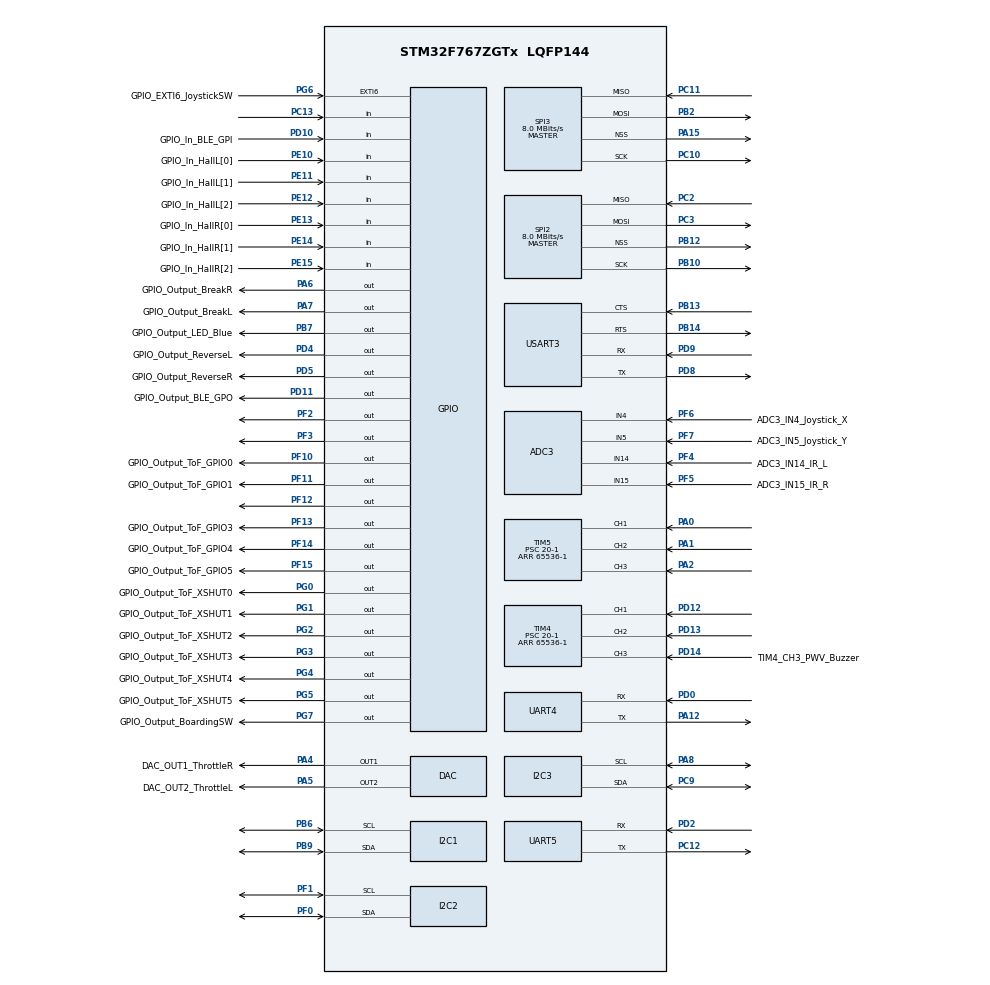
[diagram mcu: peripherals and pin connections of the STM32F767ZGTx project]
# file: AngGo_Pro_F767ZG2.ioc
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ADC3.Channel-0\#ChannelRegularConversion=ADC_CHANNEL_14
ADC3.Channel-2\#ChannelRegularConversion=ADC_CHANNEL_15
ADC3.Channel-5\#ChannelRegularConversion=ADC_CHANNEL_4
ADC3.Channel-6\#ChannelRegularConversion=ADC_CHANNEL_5
ADC3.ClockPrescaler=ADC_CLOCK_SYNC_PCLK_DIV2
ADC3.ContinuousConvMode=ENABLE
ADC3.DMAContinuousRequests=ENABLE
ADC3.DiscontinuousConvMode=DISABLE
ADC3.InjNumberOfConversion=0
ADC3.NbrOfConversion=4
ADC3.NbrOfConversionFlag=1
ADC3.Rank-0\#ChannelRegularConversion=1
ADC3.Rank-2\#ChannelRegularConversion=2
ADC3.Rank-5\#ChannelRegularConversion=3
ADC3.Rank-6\#ChannelRegularConversion=4
ADC3.SamplingTime-0\#ChannelRegularConversion=ADC_SAMPLETIME_144CYCLES
ADC3.SamplingTime-2\#ChannelRegularConversion=ADC_SAMPLETIME_144CYCLES
ADC3.SamplingTime-5\#ChannelRegularConversion=ADC_SAMPLETIME_144CYCLES
ADC3.SamplingTime-6\#ChannelRegularConversion=ADC_SAMPLETIME_144CYCLES
ADC3.ScanConvMode=ADC_SCAN_ENABLE
DAC.DAC_OutputBuffer=DAC_OUTPUTBUFFER_ENABLE
DAC.DAC_OutputBuffer2=DAC_OUTPUTBUFFER_ENABLE
Dma.ADC3.0.Direction=DMA_PERIPH_TO_MEMORY
Dma.ADC3.0.FIFOMode=DMA_FIFOMODE_DISABLE
Dma.ADC3.0.Instance=DMA2_Stream1
Dma.ADC3.0.MemDataAlignment=DMA_MDATAALIGN_HALFWORD
Dma.ADC3.0.MemInc=DMA_MINC_ENABLE
Dma.ADC3.0.Mode=DMA_CIRCULAR
Dma.ADC3.0.PeriphDataAlignment=DMA_PDATAALIGN_HALFWORD
Dma.ADC3.0.PeriphInc=DMA_PINC_DISABLE
Dma.ADC3.0.Priority=DMA_PRIORITY_HIGH
Dma.Request0=ADC3
Mcu.Family=STM32F7
Mcu.Name=STM32F767ZGTx
Mcu.Package=LQFP144
NVIC.DMA2_Stream1_IRQn=true\:0\:0\:false\:false\:true\:false\:true\:true
NVIC.EXTI9_5_IRQn=true\:0\:0\:false\:false\:true\:true\:true\:true
NVIC.PriorityGroup=NVIC_PRIORITYGROUP_4
NVIC.TIM1_UP_TIM10_IRQn=true\:0\:0\:false\:false\:true\:true\:true\:true
PA0/WKUP.GPIO_PuPd=GPIO_PULLUP
PA0/WKUP.Signal=S_TIM5_CH1
PA1.GPIO_PuPd=GPIO_PULLUP
PA1.Signal=S_TIM5_CH2
PA12.Mode=Asynchronous
PA12.Signal=UART4_TX
PA15.Mode=NSS_Signal_Hard_Output
PA15.Signal=SPI3_NSS
PA2.GPIO_PuPd=GPIO_PULLUP
PA2.Signal=S_TIM5_CH3
PA4.GPIO_Label=DAC_OUT1_ThrottleR
PA4.Signal=COMP_DAC1_group
PA5.GPIO_Label=DAC_OUT2_ThrottleL
PA5.Signal=COMP_DAC2_group
PA6.GPIO_Label=GPIO_Output_BreakR
PA6.PinState=GPIO_PIN_RESET
PA6.Signal=GPIO_Output
PA7.GPIO_Label=GPIO_Output_BreakL
PA7.Signal=GPIO_Output
PA8.Mode=I2C
PA8.Signal=I2C3_SCL
PB10.Mode=Full_Duplex_Master
PB10.Signal=SPI2_SCK
PB12.Mode=NSS_Signal_Hard_Output
PB12.Signal=SPI2_NSS
PB13.Mode=CTS_RTS
PB13.Signal=USART3_CTS
PB14.Mode=CTS_RTS
PB14.Signal=USART3_RTS
PB2.Mode=Full_Duplex_Master
PB2.Signal=SPI3_MOSI
PB6.Mode=I2C
PB6.Signal=I2C1_SCL
PB7.GPIO_Label=GPIO_Output_LED_Blue
PB7.Signal=GPIO_Output
PB9.Mode=I2C
PB9.Signal=I2C1_SDA
PC10.Mode=Full_Duplex_Master
PC10.Signal=SPI3_SCK
PC11.Mode=Full_Duplex_Master
PC11.Signal=SPI3_MISO
PC12.Mode=Asynchronous
PC12.Signal=UART5_TX
PC13.Signal=GPIO_Input
PC2.Mode=Full_Duplex_Master
PC2.Signal=SPI2_MISO
PC3.Mode=Full_Duplex_Master
PC3.Signal=SPI2_MOSI
PC9.Mode=I2C
PC9.Signal=I2C3_SDA
PD0.Mode=Asynchronous
PD0.Signal=UART4_RX
PD10.GPIO_Label=GPIO_In_BLE_GPI
PD10.Signal=GPIO_Input
PD11.GPIO_Label=GPIO_Output_BLE_GPO
PD11.Signal=GPIO_Output
PD12.GPIO_PuPd=GPIO_PULLUP
PD12.Signal=S_TIM4_CH1
PD13.GPIO_PuPd=GPIO_PULLUP
PD13.Signal=S_TIM4_CH2
PD14.GPIO_Label=TIM4_CH3_PWV_Buzzer
PD14.GPIO_PuPd=GPIO_PULLUP
PD14.Signal=S_TIM4_CH3
PD15.GPIO_Label=TIM4_CH4_PWM_LED_PLS
PD15.Signal=S_TIM4_CH4
PD2.Mode=Asynchronous
PD2.Signal=UART5_RX
PD4.GPIO_Label=GPIO_Output_ReverseL
PD4.PinState=GPIO_PIN_RESET
PD4.Signal=GPIO_Output
PD5.GPIO_Label=GPIO_Output_ReverseR
PD5.PinState=GPIO_PIN_RESET
PD5.Signal=GPIO_Output
PD8.Mode=Asynchronous
PD8.Signal=USART3_TX
PD9.Mode=Asynchronous
PD9.Signal=USART3_RX
PE10.GPIO_Label=GPIO_In_HallL[0]
PE10.Signal=GPIO_Input
PE11.GPIO_Label=GPIO_In_HallL[1]
PE11.Signal=GPIO_Input
PE12.GPIO_Label=GPIO_In_HallL[2]
PE12.Signal=GPIO_Input
PE13.GPIO_Label=GPIO_In_HallR[0]
PE13.Signal=GPIO_Input
PE14.GPIO_Label=GPIO_In_HallR[1]
PE14.Signal=GPIO_Input
PE15.GPIO_Label=GPIO_In_HallR[2]
PE15.Signal=GPIO_Input
PF0.Mode=I2C
PF0.Signal=I2C2_SDA
PF1.Mode=I2C
PF1.Signal=I2C2_SCL
PF10.GPIO_Label=GPIO_Output_ToF_GPIO0
PF10.Signal=GPIO_Output
PF11.GPIO_Label=GPIO_Output_ToF_GPIO1
PF11.Signal=GPIO_Output
PF12.Signal=GPIO_Output
PF13.GPIO_Label=GPIO_Output_ToF_GPIO3
PF13.Signal=GPIO_Output
PF14.GPIO_Label=GPIO_Output_ToF_GPIO4
PF14.Signal=GPIO_Output
PF15.GPIO_Label=GPIO_Output_ToF_GPIO5
PF15.Signal=GPIO_Output
PF2.Signal=GPIO_Output
PF3.PinState=GPIO_PIN_RESET
PF3.Signal=GPIO_Output
PF4.GPIO_Label=ADC3_IN14_IR_L
PF4.Mode=IN14
PF4.Signal=ADC3_IN14
PF5.GPIO_Label=ADC3_IN15_IR_R
PF5.Mode=IN15
PF5.Signal=ADC3_IN15
PF6.GPIO_Label=ADC3_IN4_Joystick_X
PF6.Mode=IN4
PF6.Signal=ADC3_IN4
PF7.GPIO_Label=ADC3_IN5_Joystick_Y
PF7.Mode=IN5
PF7.Signal=ADC3_IN5
PG0.GPIO_Label=GPIO_Output_ToF_XSHUT0
PG0.PinState=GPIO_PIN_RESET
PG0.Signal=GPIO_Output
PG1.GPIO_Label=GPIO_Output_ToF_XSHUT1
PG1.Signal=GPIO_Output
PG2.GPIO_Label=GPIO_Output_ToF_XSHUT2
PG2.Signal=GPIO_Output
PG3.GPIO_Label=GPIO_Output_ToF_XSHUT3
PG3.Signal=GPIO_Output
PG4.GPIO_Label=GPIO_Output_ToF_XSHUT4
PG4.Signal=GPIO_Output
PG5.GPIO_Label=GPIO_Output_ToF_XSHUT5
PG5.Signal=GPIO_Output
PG6.GPIO_Label=GPIO_EXTI6_JoystickSW
PG6.GPIO_ModeDefaultEXTI=GPIO_MODE_IT_FALLING
PG6.GPIO_PuPd=GPIO_PULLUP
PG6.Signal=GPXTI6
PG7.GPIO_Label=GPIO_Output_BoardingSW
PG7.Signal=GPIO_Output
ProjectManager.HeapSize=0x200
ProjectManager.StackSize=0x400
ProjectManager.TargetToolchain=STM32CubeIDE
RCC.HSE_VALUE=25000000
RCC.HSI_VALUE=16000000
RCC.LSE_VALUE=32768
RCC.USBFreq_Value=96000000
RCC.VCOOutputFreq_Value=192000000
SH.COMP_DAC1_group.0=DAC_OUT1,DAC_OUT1
SH.COMP_DAC2_group.0=DAC_OUT2,DAC_OUT2
SH.S_TIM4_CH1.0=TIM4_CH1,Xored_Inputs_Hall_Sensor_Interface
SH.S_TIM4_CH2.0=TIM4_CH2,Xored_Inputs_Hall_Sensor_Interface
SH.S_TIM4_CH3.0=TIM4_CH3,Xored_Inputs_Hall_Sensor_Interface
SH.S_TIM4_CH4.0=TIM4_CH4
SH.S_TIM5_CH1.0=TIM5_CH1,Xored_Inputs_Hall_Sensor_Interface
SH.S_TIM5_CH2.0=TIM5_CH2,Xored_Inputs_Hall_Sensor_Interface
SH.S_TIM5_CH3.0=TIM5_CH3,Xored_Inputs_Hall_Sensor_Interface
SPI2.CalculateBaudRate=8.0 MBits/s
SPI2.Direction=SPI_DIRECTION_2LINES
SPI2.Mode=SPI_MODE_MASTER
SPI2.VirtualNSS=VM_NSSHARD
SPI2.VirtualType=VM_MASTER
SPI3.CalculateBaudRate=8.0 MBits/s
SPI3.Direction=SPI_DIRECTION_2LINES
SPI3.Mode=SPI_MODE_MASTER
SPI3.VirtualNSS=VM_NSSHARD
SPI3.VirtualType=VM_MASTER
TIM1.Period=100-1
TIM1.Prescaler=16000-1
TIM4.Period=65536-1
TIM4.Prescaler=20-1
TIM5.IC1Filter=3
TIM5.Period=65536-1
TIM5.Prescaler=20-1
USART3.VirtualMode-Asynchronous=VM_ASYNC
VP_TIM1_VS_ClockSourceINT.Mode=Internal
board=custom

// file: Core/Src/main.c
/* USER CODE BEGIN Header */
/**
 ******************************************************************************
 * @file           : main.c
 * @brief          : Main program body
 ******************************************************************************
 * @attention
 *
 * <h2><center>&copy; Copyright (c) 2021 STMicroelectronics.
 * All rights reserved.</center></h2>
 *
 * This software component is licensed by ST under BSD 3-Clause license,
 * the "License"; You may not use this file except in compliance with the
 * License. You may obtain a copy of the License at:
 *                        opensource.org/licenses/BSD-3-Clause
 *
 ******************************************************************************
 */
/* USER CODE END Header */
#include "main.h"

/* USER CODE BEGIN Includes */
#include "vl53lx_api.h"
#include "motor.h"
#include "config.h"
/* USER CODE END Includes */

 ADC_HandleTypeDef hadc3;
DMA_HandleTypeDef hdma_adc3;

DAC_HandleTypeDef hdac;

I2C_HandleTypeDef hi2c1;
I2C_HandleTypeDef hi2c2;
I2C_HandleTypeDef hi2c3;

SPI_HandleTypeDef hspi2;
SPI_HandleTypeDef hspi3;

TIM_HandleTypeDef htim1;
TIM_HandleTypeDef htim4;
TIM_HandleTypeDef htim5;

UART_HandleTypeDef huart4;
UART_HandleTypeDef huart5;
UART_HandleTypeDef huart3;

/* USER CODE BEGIN PV */

//I2C_HandleTypeDef hi2c1;
//UART_HandleTypeDef huart2;
VL53LX_Dev_t devFrontLeft;
VL53LX_Dev_t devFrontCenter;
VL53LX_Dev_t devFrontRight;
VL53LX_Dev_t devRearLeft;
VL53LX_Dev_t devRearCenter;
VL53LX_Dev_t devRearRight;

VL53LX_DEV Dev;

int status;
volatile int IntCount;
#define isAutonomousExample 1  /* Allow to select either autonomous ranging or fast ranging example */
#define isInterrupt 0 /* If isInterrupt = 1 then device working in interrupt mode, else device working in polling mode */

static uint8_t tx_buffer[1000];
/* USER CODE END PV */

void SystemClock_Config(void);
static void MX_GPIO_Init(void);
static void MX_DMA_Init(void);
static void MX_ADC3_Init(void);
static void MX_USART3_UART_Init(void);
static void MX_I2C1_Init(void);
static void MX_I2C3_Init(void);
static void MX_SPI3_Init(void);
static void MX_UART4_Init(void);
static void MX_UART5_Init(void);
static void MX_DAC_Init(void);
static void MX_I2C2_Init(void);
static void MX_SPI2_Init(void);
static void MX_TIM4_Init(void);
static void MX_TIM1_Init(void);
static void MX_TIM5_Init(void);
/* USER CODE BEGIN PFP */
static void tx_com(uint8_t *tx_buffer, uint16_t len);
void RangingLoop(void);
void AVG_Capture();
void get_speed();
extern void MotorControl(float current, float target, float dt);
/* USER CODE END PFP */

/* USER CODE BEGIN 0 */
uint32_t minSpeed = 1000;
uint32_t minSpeedBackward = 1000;
uint32_t maxSpeed = 2200;
uint32_t maxSpeedBackward = 2200;
uint32_t SUM_CCR1 = 0, AVG_CCR1 = 0;
uint32_t PreCCR1 = 0; //Compare change of CCR1 value
//	float overtimeL = 0;
float overtimeR = 0;
float diameter = 3.14 * 14 / 60; //PI*diameter/count of cycle
//	float nowspeedL = 0;
float nowspeedR = 0;
float target_speed = 0.3;

int count = 0; //period

int mode = 1;
int joystickState = 1;
float dt = 0.1;
#define TEST 1
/* USER CODE END 0 */

int main(void)
{
  /* USER CODE BEGIN 1 */

	//0.7m/s
//	uint8_t newI2C;
	//	uint8_t ToFSensor = 1; // 0=Left, 1=Center(default), 2=Right
  /* USER CODE END 1 */

  /* MCU Configuration--------------------------------------------------------*/

  /* Reset of all peripherals, Initializes the Flash interface and the Systick. */
  HAL_Init();

  /* Configure the system clock */
  SystemClock_Config();

  /* Initialize all configured peripherals */
  MX_GPIO_Init();
  MX_DMA_Init();
  MX_ADC3_Init();
  MX_USART3_UART_Init();
  MX_I2C1_Init();
  MX_I2C3_Init();
  MX_SPI3_Init();
  MX_UART4_Init();
  MX_UART5_Init();
  MX_DAC_Init();
  MX_I2C2_Init();
  MX_SPI2_Init();
  MX_TIM4_Init();
  MX_TIM1_Init();
  MX_TIM5_Init();
  /* USER CODE BEGIN 2 */

	HAL_DAC_Start(&hdac, DAC_CHANNEL_1); // right
	HAL_DAC_SetValue(&hdac, DAC_CHANNEL_1, DAC_ALIGN_12B_R, 0);

//	HAL_TIMEx_HallSensor_Start(&htim4);
	HAL_TIMEx_HallSensor_Start(&htim5);
	for(int s=0;s<20;s++){
								throttleCur[RIGHT]=s*100;
								HAL_DAC_SetValue(&hdac, DAC_CHANNEL_1, DAC_ALIGN_12B_R,
						throttleCur[RIGHT]);
								HAL_Delay(100);
							}
  /* USER CODE END 2 */

  /* Infinite loop */
  /* USER CODE BEGIN WHILE */

	while (1) {

		#if (TEST==0)
				AVG_Capture(); //averege period capture
				MotorControl(nowspeedR, target_speed, dt);
				HAL_DAC_SetValue(&hdac, DAC_CHANNEL_1, DAC_ALIGN_12B_R,
						throttleCur[RIGHT]);
				sprintf((char*) tx_buffer, "%0.2f,%0.2f\r\n", CurrentSpeed[RIGHT],
						nowspeedR);
				tx_com(tx_buffer, strlen((char const*) tx_buffer));
				nowspeedR=0;
				HAL_Delay(10);
		#elif (TEST==1)

						get_speed();
						TIM5->CCR1 = 0;
//						MotorControl(nowspeedR, target_speed, dt);
//						HAL_DAC_SetValue(&hdac, DAC_CHANNEL_1, DAC_ALIGN_12B_R,
//												throttleCur[RIGHT]);
						sprintf((char*) tx_buffer, "%0.2f,%u\r\n",
								nowspeedR,TIM5->CCR1);
						tx_com(tx_buffer, strlen((char const*) tx_buffer));
						HAL_Delay(10);
		#endif
    /* USER CODE END WHILE */

	}
}

void SystemClock_Config(void)
{
  RCC_OscInitTypeDef RCC_OscInitStruct = {0};
  RCC_ClkInitTypeDef RCC_ClkInitStruct = {0};

  /** Configure the main internal regulator output voltage
  */
  __HAL_RCC_PWR_CLK_ENABLE();
  __HAL_PWR_VOLTAGESCALING_CONFIG(PWR_REGULATOR_VOLTAGE_SCALE3);

  /** Initializes the RCC Oscillators according to the specified parameters
  * in the RCC_OscInitTypeDef structure.
  */
  RCC_OscInitStruct.OscillatorType = RCC_OSCILLATORTYPE_HSI;
  RCC_OscInitStruct.HSIState = RCC_HSI_ON;
  RCC_OscInitStruct.HSICalibrationValue = RCC_HSICALIBRATION_DEFAULT;
  RCC_OscInitStruct.PLL.PLLState = RCC_PLL_NONE;
  if (HAL_RCC_OscConfig(&RCC_OscInitStruct) != HAL_OK)
  {
    Error_Handler();
  }

  /** Initializes the CPU, AHB and APB buses clocks
  */
  RCC_ClkInitStruct.ClockType = RCC_CLOCKTYPE_HCLK|RCC_CLOCKTYPE_SYSCLK
                              |RCC_CLOCKTYPE_PCLK1|RCC_CLOCKTYPE_PCLK2;
  RCC_ClkInitStruct.SYSCLKSource = RCC_SYSCLKSOURCE_HSI;
  RCC_ClkInitStruct.AHBCLKDivider = RCC_SYSCLK_DIV1;
  RCC_ClkInitStruct.APB1CLKDivider = RCC_HCLK_DIV1;
  RCC_ClkInitStruct.APB2CLKDivider = RCC_HCLK_DIV1;

  if (HAL_RCC_ClockConfig(&RCC_ClkInitStruct, FLASH_LATENCY_0) != HAL_OK)
  {
    Error_Handler();
  }
}

static void MX_ADC3_Init(void)
{

  ADC_ChannelConfTypeDef sConfig = {0};

  /** Configure the global features of the ADC (Clock, Resolution, Data Alignment and number of conversion)
  */
  hadc3.Instance = ADC3;
  hadc3.Init.ClockPrescaler = ADC_CLOCK_SYNC_PCLK_DIV2;
  hadc3.Init.Resolution = ADC_RESOLUTION_12B;
  hadc3.Init.ScanConvMode = ADC_SCAN_ENABLE;
  hadc3.Init.ContinuousConvMode = ENABLE;
  hadc3.Init.DiscontinuousConvMode = DISABLE;
  hadc3.Init.ExternalTrigConvEdge = ADC_EXTERNALTRIGCONVEDGE_NONE;
  hadc3.Init.ExternalTrigConv = ADC_SOFTWARE_START;
  hadc3.Init.DataAlign = ADC_DATAALIGN_RIGHT;
  hadc3.Init.NbrOfConversion = 4;
  hadc3.Init.DMAContinuousRequests = ENABLE;
  hadc3.Init.EOCSelection = ADC_EOC_SINGLE_CONV;
  if (HAL_ADC_Init(&hadc3) != HAL_OK)
  {
    Error_Handler();
  }

  /** Configure for the selected ADC regular channel its corresponding rank in the sequencer and its sample time.
  */
  sConfig.Channel = ADC_CHANNEL_14;
  sConfig.Rank = ADC_REGULAR_RANK_1;
  sConfig.SamplingTime = ADC_SAMPLETIME_144CYCLES;
  if (HAL_ADC_ConfigChannel(&hadc3, &sConfig) != HAL_OK)
  {
    Error_Handler();
  }

  /** Configure for the selected ADC regular channel its corresponding rank in the sequencer and its sample time.
  */
  sConfig.Channel = ADC_CHANNEL_15;
  sConfig.Rank = ADC_REGULAR_RANK_2;
  if (HAL_ADC_ConfigChannel(&hadc3, &sConfig) != HAL_OK)
  {
    Error_Handler();
  }

  /** Configure for the selected ADC regular channel its corresponding rank in the sequencer and its sample time.
  */
  sConfig.Channel = ADC_CHANNEL_4;
  sConfig.Rank = ADC_REGULAR_RANK_3;
  if (HAL_ADC_ConfigChannel(&hadc3, &sConfig) != HAL_OK)
  {
    Error_Handler();
  }

  /** Configure for the selected ADC regular channel its corresponding rank in the sequencer and its sample time.
  */
  sConfig.Channel = ADC_CHANNEL_5;
  sConfig.Rank = ADC_REGULAR_RANK_4;
  if (HAL_ADC_ConfigChannel(&hadc3, &sConfig) != HAL_OK)
  {
    Error_Handler();
  }

}

static void MX_DAC_Init(void)
{

  DAC_ChannelConfTypeDef sConfig = {0};

  /** DAC Initialization
  */
  hdac.Instance = DAC;
  if (HAL_DAC_Init(&hdac) != HAL_OK)
  {
    Error_Handler();
  }

  /** DAC channel OUT1 config
  */
  sConfig.DAC_Trigger = DAC_TRIGGER_NONE;
  sConfig.DAC_OutputBuffer = DAC_OUTPUTBUFFER_ENABLE;
  if (HAL_DAC_ConfigChannel(&hdac, &sConfig, DAC_CHANNEL_1) != HAL_OK)
  {
    Error_Handler();
  }

  /** DAC channel OUT2 config
  */
  if (HAL_DAC_ConfigChannel(&hdac, &sConfig, DAC_CHANNEL_2) != HAL_OK)
  {
    Error_Handler();
  }

}

static void MX_I2C1_Init(void)
{

  hi2c1.Instance = I2C1;
  hi2c1.Init.Timing = 0x00303D5B;
  hi2c1.Init.OwnAddress1 = 0;
  hi2c1.Init.AddressingMode = I2C_ADDRESSINGMODE_7BIT;
  hi2c1.Init.DualAddressMode = I2C_DUALADDRESS_DISABLE;
  hi2c1.Init.OwnAddress2 = 0;
  hi2c1.Init.OwnAddress2Masks = I2C_OA2_NOMASK;
  hi2c1.Init.GeneralCallMode = I2C_GENERALCALL_DISABLE;
  hi2c1.Init.NoStretchMode = I2C_NOSTRETCH_DISABLE;
  if (HAL_I2C_Init(&hi2c1) != HAL_OK)
  {
    Error_Handler();
  }

  /** Configure Analogue filter
  */
  if (HAL_I2CEx_ConfigAnalogFilter(&hi2c1, I2C_ANALOGFILTER_ENABLE) != HAL_OK)
  {
    Error_Handler();
  }

  /** Configure Digital filter
  */
  if (HAL_I2CEx_ConfigDigitalFilter(&hi2c1, 0) != HAL_OK)
  {
    Error_Handler();
  }

}

static void MX_I2C2_Init(void)
{

  hi2c2.Instance = I2C2;
  hi2c2.Init.Timing = 0x00303D5B;
  hi2c2.Init.OwnAddress1 = 0;
  hi2c2.Init.AddressingMode = I2C_ADDRESSINGMODE_7BIT;
  hi2c2.Init.DualAddressMode = I2C_DUALADDRESS_DISABLE;
  hi2c2.Init.OwnAddress2 = 0;
  hi2c2.Init.OwnAddress2Masks = I2C_OA2_NOMASK;
  hi2c2.Init.GeneralCallMode = I2C_GENERALCALL_DISABLE;
  hi2c2.Init.NoStretchMode = I2C_NOSTRETCH_DISABLE;
  if (HAL_I2C_Init(&hi2c2) != HAL_OK)
  {
    Error_Handler();
  }

  /** Configure Analogue filter
  */
  if (HAL_I2CEx_ConfigAnalogFilter(&hi2c2, I2C_ANALOGFILTER_ENABLE) != HAL_OK)
  {
    Error_Handler();
  }

  /** Configure Digital filter
  */
  if (HAL_I2CEx_ConfigDigitalFilter(&hi2c2, 0) != HAL_OK)
  {
    Error_Handler();
  }

}

static void MX_I2C3_Init(void)
{

  hi2c3.Instance = I2C3;
  hi2c3.Init.Timing = 0x00303D5B;
  hi2c3.Init.OwnAddress1 = 0;
  hi2c3.Init.AddressingMode = I2C_ADDRESSINGMODE_7BIT;
  hi2c3.Init.DualAddressMode = I2C_DUALADDRESS_DISABLE;
  hi2c3.Init.OwnAddress2 = 0;
  hi2c3.Init.OwnAddress2Masks = I2C_OA2_NOMASK;
  hi2c3.Init.GeneralCallMode = I2C_GENERALCALL_DISABLE;
  hi2c3.Init.NoStretchMode = I2C_NOSTRETCH_DISABLE;
  if (HAL_I2C_Init(&hi2c3) != HAL_OK)
  {
    Error_Handler();
  }

  /** Configure Analogue filter
  */
  if (HAL_I2CEx_ConfigAnalogFilter(&hi2c3, I2C_ANALOGFILTER_ENABLE) != HAL_OK)
  {
    Error_Handler();
  }

  /** Configure Digital filter
  */
  if (HAL_I2CEx_ConfigDigitalFilter(&hi2c3, 0) != HAL_OK)
  {
    Error_Handler();
  }

}

static void MX_SPI2_Init(void)
{

  /* SPI2 parameter configuration*/
  hspi2.Instance = SPI2;
  hspi2.Init.Mode = SPI_MODE_MASTER;
  hspi2.Init.Direction = SPI_DIRECTION_2LINES;
  hspi2.Init.DataSize = SPI_DATASIZE_4BIT;
  hspi2.Init.CLKPolarity = SPI_POLARITY_LOW;
  hspi2.Init.CLKPhase = SPI_PHASE_1EDGE;
  hspi2.Init.NSS = SPI_NSS_HARD_OUTPUT;
  hspi2.Init.BaudRatePrescaler = SPI_BAUDRATEPRESCALER_2;
  hspi2.Init.FirstBit = SPI_FIRSTBIT_MSB;
  hspi2.Init.TIMode = SPI_TIMODE_DISABLE;
  hspi2.Init.CRCCalculation = SPI_CRCCALCULATION_DISABLE;
  hspi2.Init.CRCPolynomial = 7;
  hspi2.Init.CRCLength = SPI_CRC_LENGTH_DATASIZE;
  hspi2.Init.NSSPMode = SPI_NSS_PULSE_ENABLE;
  if (HAL_SPI_Init(&hspi2) != HAL_OK)
  {
    Error_Handler();
  }

}

static void MX_SPI3_Init(void)
{

  /* SPI3 parameter configuration*/
  hspi3.Instance = SPI3;
  hspi3.Init.Mode = SPI_MODE_MASTER;
  hspi3.Init.Direction = SPI_DIRECTION_2LINES;
  hspi3.Init.DataSize = SPI_DATASIZE_4BIT;
  hspi3.Init.CLKPolarity = SPI_POLARITY_LOW;
  hspi3.Init.CLKPhase = SPI_PHASE_1EDGE;
  hspi3.Init.NSS = SPI_NSS_HARD_OUTPUT;
  hspi3.Init.BaudRatePrescaler = SPI_BAUDRATEPRESCALER_2;
  hspi3.Init.FirstBit = SPI_FIRSTBIT_MSB;
  hspi3.Init.TIMode = SPI_TIMODE_DISABLE;
  hspi3.Init.CRCCalculation = SPI_CRCCALCULATION_DISABLE;
  hspi3.Init.CRCPolynomial = 7;
  hspi3.Init.CRCLength = SPI_CRC_LENGTH_DATASIZE;
  hspi3.Init.NSSPMode = SPI_NSS_PULSE_ENABLE;
  if (HAL_SPI_Init(&hspi3) != HAL_OK)
  {
    Error_Handler();
  }

}

static void MX_TIM1_Init(void)
{

  TIM_ClockConfigTypeDef sClockSourceConfig = {0};
  TIM_MasterConfigTypeDef sMasterConfig = {0};

  htim1.Instance = TIM1;
  htim1.Init.Prescaler = 16000-1;
  htim1.Init.CounterMode = TIM_COUNTERMODE_UP;
  htim1.Init.Period = 100-1;
  htim1.Init.ClockDivision = TIM_CLOCKDIVISION_DIV1;
  htim1.Init.RepetitionCounter = 0;
  htim1.Init.AutoReloadPreload = TIM_AUTORELOAD_PRELOAD_DISABLE;
  if (HAL_TIM_Base_Init(&htim1) != HAL_OK)
  {
    Error_Handler();
  }
  sClockSourceConfig.ClockSource = TIM_CLOCKSOURCE_INTERNAL;
  if (HAL_TIM_ConfigClockSource(&htim1, &sClockSourceConfig) != HAL_OK)
  {
    Error_Handler();
  }
  sMasterConfig.MasterOutputTrigger = TIM_TRGO_RESET;
  sMasterConfig.MasterOutputTrigger2 = TIM_TRGO2_RESET;
  sMasterConfig.MasterSlaveMode = TIM_MASTERSLAVEMODE_DISABLE;
  if (HAL_TIMEx_MasterConfigSynchronization(&htim1, &sMasterConfig) != HAL_OK)
  {
    Error_Handler();
  }

}

static void MX_TIM4_Init(void)
{

  TIM_HallSensor_InitTypeDef sConfig = {0};
  TIM_MasterConfigTypeDef sMasterConfig = {0};

  htim4.Instance = TIM4;
  htim4.Init.Prescaler = 20-1;
  htim4.Init.CounterMode = TIM_COUNTERMODE_UP;
  htim4.Init.Period = 65536-1;
  htim4.Init.ClockDivision = TIM_CLOCKDIVISION_DIV1;
  htim4.Init.AutoReloadPreload = TIM_AUTORELOAD_PRELOAD_DISABLE;
  sConfig.IC1Polarity = TIM_ICPOLARITY_RISING;
  sConfig.IC1Prescaler = TIM_ICPSC_DIV1;
  sConfig.IC1Filter = 0;
  sConfig.Commutation_Delay = 0;
  if (HAL_TIMEx_HallSensor_Init(&htim4, &sConfig) != HAL_OK)
  {
    Error_Handler();
  }
  sMasterConfig.MasterOutputTrigger = TIM_TRGO_OC2REF;
  sMasterConfig.MasterSlaveMode = TIM_MASTERSLAVEMODE_DISABLE;
  if (HAL_TIMEx_MasterConfigSynchronization(&htim4, &sMasterConfig) != HAL_OK)
  {
    Error_Handler();
  }

}

static void MX_TIM5_Init(void)
{

  TIM_HallSensor_InitTypeDef sConfig = {0};
  TIM_MasterConfigTypeDef sMasterConfig = {0};

  htim5.Instance = TIM5;
  htim5.Init.Prescaler = 20-1;
  htim5.Init.CounterMode = TIM_COUNTERMODE_UP;
  htim5.Init.Period = 65536-1;
  htim5.Init.ClockDivision = TIM_CLOCKDIVISION_DIV1;
  htim5.Init.AutoReloadPreload = TIM_AUTORELOAD_PRELOAD_DISABLE;
  sConfig.IC1Polarity = TIM_ICPOLARITY_RISING;
  sConfig.IC1Prescaler = TIM_ICPSC_DIV1;
  sConfig.IC1Filter = 3;
  sConfig.Commutation_Delay = 0;
  if (HAL_TIMEx_HallSensor_Init(&htim5, &sConfig) != HAL_OK)
  {
    Error_Handler();
  }
  sMasterConfig.MasterOutputTrigger = TIM_TRGO_OC2REF;
  sMasterConfig.MasterSlaveMode = TIM_MASTERSLAVEMODE_DISABLE;
  if (HAL_TIMEx_MasterConfigSynchronization(&htim5, &sMasterConfig) != HAL_OK)
  {
    Error_Handler();
  }

}

static void MX_UART4_Init(void)
{

  huart4.Instance = UART4;
  huart4.Init.BaudRate = 115200;
  huart4.Init.WordLength = UART_WORDLENGTH_8B;
  huart4.Init.StopBits = UART_STOPBITS_1;
  huart4.Init.Parity = UART_PARITY_NONE;
  huart4.Init.Mode = UART_MODE_TX_RX;
  huart4.Init.HwFlowCtl = UART_HWCONTROL_NONE;
  huart4.Init.OverSampling = UART_OVERSAMPLING_16;
  huart4.Init.OneBitSampling = UART_ONE_BIT_SAMPLE_DISABLE;
  huart4.AdvancedInit.AdvFeatureInit = UART_ADVFEATURE_NO_INIT;
  if (HAL_UART_Init(&huart4) != HAL_OK)
  {
    Error_Handler();
  }

}

static void MX_UART5_Init(void)
{

  huart5.Instance = UART5;
  huart5.Init.BaudRate = 115200;
  huart5.Init.WordLength = UART_WORDLENGTH_8B;
  huart5.Init.StopBits = UART_STOPBITS_1;
  huart5.Init.Parity = UART_PARITY_NONE;
  huart5.Init.Mode = UART_MODE_TX_RX;
  huart5.Init.HwFlowCtl = UART_HWCONTROL_NONE;
  huart5.Init.OverSampling = UART_OVERSAMPLING_16;
  huart5.Init.OneBitSampling = UART_ONE_BIT_SAMPLE_DISABLE;
  huart5.AdvancedInit.AdvFeatureInit = UART_ADVFEATURE_NO_INIT;
  if (HAL_UART_Init(&huart5) != HAL_OK)
  {
    Error_Handler();
  }

}

static void MX_USART3_UART_Init(void)
{

  huart3.Instance = USART3;
  huart3.Init.BaudRate = 115200;
  huart3.Init.WordLength = UART_WORDLENGTH_8B;
  huart3.Init.StopBits = UART_STOPBITS_1;
  huart3.Init.Parity = UART_PARITY_NONE;
  huart3.Init.Mode = UART_MODE_TX_RX;
  huart3.Init.HwFlowCtl = UART_HWCONTROL_RTS_CTS;
  huart3.Init.OverSampling = UART_OVERSAMPLING_16;
  huart3.Init.OneBitSampling = UART_ONE_BIT_SAMPLE_DISABLE;
  huart3.AdvancedInit.AdvFeatureInit = UART_ADVFEATURE_NO_INIT;
  if (HAL_UART_Init(&huart3) != HAL_OK)
  {
    Error_Handler();
  }

}

static void MX_DMA_Init(void)
{

  /* DMA controller clock enable */
  __HAL_RCC_DMA2_CLK_ENABLE();

  /* DMA interrupt init */
  /* DMA2_Stream1_IRQn interrupt configuration */
  HAL_NVIC_SetPriority(DMA2_Stream1_IRQn, 0, 0);
  HAL_NVIC_EnableIRQ(DMA2_Stream1_IRQn);

}

static void MX_GPIO_Init(void)
{
  GPIO_InitTypeDef GPIO_InitStruct = {0};

  /* GPIO Ports Clock Enable */
  __HAL_RCC_GPIOC_CLK_ENABLE();
  __HAL_RCC_GPIOF_CLK_ENABLE();
  __HAL_RCC_GPIOA_CLK_ENABLE();
  __HAL_RCC_GPIOB_CLK_ENABLE();
  __HAL_RCC_GPIOG_CLK_ENABLE();
  __HAL_RCC_GPIOE_CLK_ENABLE();
  __HAL_RCC_GPIOD_CLK_ENABLE();

  /*Configure GPIO pin Output Level */
  HAL_GPIO_WritePin(GPIOF, GPIO_PIN_2|GPIO_PIN_3|GPIO_Output_ToF_GPIO0_Pin|GPIO_Output_ToF_GPIO1_Pin
                          |GPIO_PIN_12|GPIO_Output_ToF_GPIO3_Pin|GPIO_Output_ToF_GPIO4_Pin|GPIO_Output_ToF_GPIO5_Pin, GPIO_PIN_RESET);

  /*Configure GPIO pin Output Level */
  HAL_GPIO_WritePin(GPIOA, GPIO_Output_BreakR_Pin|GPIO_Output_BreakL_Pin, GPIO_PIN_RESET);

  /*Configure GPIO pin Output Level */
  HAL_GPIO_WritePin(GPIOG, GPIO_Output_ToF_XSHUT0_Pin|GPIO_Output_ToF_XSHUT1_Pin|GPIO_Output_ToF_XSHUT2_Pin|GPIO_Output_ToF_XSHUT3_Pin
                          |GPIO_Output_ToF_XSHUT4_Pin|GPIO_Output_ToF_XSHUT5_Pin|GPIO_Output_BoardingSW_Pin, GPIO_PIN_RESET);

  /*Configure GPIO pin Output Level */
  HAL_GPIO_WritePin(GPIOD, GPIO_Output_BLE_GPO_Pin|GPIO_Output_ReverseL_Pin|GPIO_Output_ReverseR_Pin, GPIO_PIN_RESET);

  /*Configure GPIO pin Output Level */
  HAL_GPIO_WritePin(GPIO_Output_LED_Blue_GPIO_Port, GPIO_Output_LED_Blue_Pin, GPIO_PIN_RESET);

  /*Configure GPIO pin : PC13 */
  GPIO_InitStruct.Pin = GPIO_PIN_13;
  GPIO_InitStruct.Mode = GPIO_MODE_INPUT;
  GPIO_InitStruct.Pull = GPIO_NOPULL;
  HAL_GPIO_Init(GPIOC, &GPIO_InitStruct);

  /*Configure GPIO pins : PF2 PF3 GPIO_Output_ToF_GPIO0_Pin GPIO_Output_ToF_GPIO1_Pin
                           PF12 GPIO_Output_ToF_GPIO3_Pin GPIO_Output_ToF_GPIO4_Pin GPIO_Output_ToF_GPIO5_Pin */
  GPIO_InitStruct.Pin = GPIO_PIN_2|GPIO_PIN_3|GPIO_Output_ToF_GPIO0_Pin|GPIO_Output_ToF_GPIO1_Pin
                          |GPIO_PIN_12|GPIO_Output_ToF_GPIO3_Pin|GPIO_Output_ToF_GPIO4_Pin|GPIO_Output_ToF_GPIO5_Pin;
  GPIO_InitStruct.Mode = GPIO_MODE_OUTPUT_PP;
  GPIO_InitStruct.Pull = GPIO_NOPULL;
  GPIO_InitStruct.Speed = GPIO_SPEED_FREQ_LOW;
  HAL_GPIO_Init(GPIOF, &GPIO_InitStruct);

  /*Configure GPIO pins : GPIO_Output_BreakR_Pin GPIO_Output_BreakL_Pin */
  GPIO_InitStruct.Pin = GPIO_Output_BreakR_Pin|GPIO_Output_BreakL_Pin;
  GPIO_InitStruct.Mode = GPIO_MODE_OUTPUT_PP;
  GPIO_InitStruct.Pull = GPIO_NOPULL;
  GPIO_InitStruct.Speed = GPIO_SPEED_FREQ_LOW;
  HAL_GPIO_Init(GPIOA, &GPIO_InitStruct);

  /*Configure GPIO pins : GPIO_Output_ToF_XSHUT0_Pin GPIO_Output_ToF_XSHUT1_Pin GPIO_Output_ToF_XSHUT2_Pin GPIO_Output_ToF_XSHUT3_Pin
                           GPIO_Output_ToF_XSHUT4_Pin GPIO_Output_ToF_XSHUT5_Pin GPIO_Output_BoardingSW_Pin */
  GPIO_InitStruct.Pin = GPIO_Output_ToF_XSHUT0_Pin|GPIO_Output_ToF_XSHUT1_Pin|GPIO_Output_ToF_XSHUT2_Pin|GPIO_Output_ToF_XSHUT3_Pin
                          |GPIO_Output_ToF_XSHUT4_Pin|GPIO_Output_ToF_XSHUT5_Pin|GPIO_Output_BoardingSW_Pin;
  GPIO_InitStruct.Mode = GPIO_MODE_OUTPUT_PP;
  GPIO_InitStruct.Pull = GPIO_NOPULL;
  GPIO_InitStruct.Speed = GPIO_SPEED_FREQ_LOW;
  HAL_GPIO_Init(GPIOG, &GPIO_InitStruct);

  /*Configure GPIO pins : GPIO_In_HallL_Pin GPIO_In_HallLE11_Pin GPIO_In_HallLE12_Pin GPIO_In_HallR_Pin
                           GPIO_In_HallRE14_Pin GPIO_In_HallRE15_Pin */
  GPIO_InitStruct.Pin = GPIO_In_HallL_Pin|GPIO_In_HallLE11_Pin|GPIO_In_HallLE12_Pin|GPIO_In_HallR_Pin
                          |GPIO_In_HallRE14_Pin|GPIO_In_HallRE15_Pin;
  GPIO_InitStruct.Mode = GPIO_MODE_INPUT;
  GPIO_InitStruct.Pull = GPIO_NOPULL;
  HAL_GPIO_Init(GPIOE, &GPIO_InitStruct);

  /*Configure GPIO pin : GPIO_In_BLE_GPI_Pin */
  GPIO_InitStruct.Pin = GPIO_In_BLE_GPI_Pin;
  GPIO_InitStruct.Mode = GPIO_MODE_INPUT;
  GPIO_InitStruct.Pull = GPIO_NOPULL;
  HAL_GPIO_Init(GPIO_In_BLE_GPI_GPIO_Port, &GPIO_InitStruct);

  /*Configure GPIO pins : GPIO_Output_BLE_GPO_Pin GPIO_Output_ReverseL_Pin GPIO_Output_ReverseR_Pin */
  GPIO_InitStruct.Pin = GPIO_Output_BLE_GPO_Pin|GPIO_Output_ReverseL_Pin|GPIO_Output_ReverseR_Pin;
  GPIO_InitStruct.Mode = GPIO_MODE_OUTPUT_PP;
  GPIO_InitStruct.Pull = GPIO_NOPULL;
  GPIO_InitStruct.Speed = GPIO_SPEED_FREQ_LOW;
  HAL_GPIO_Init(GPIOD, &GPIO_InitStruct);

  /*Configure GPIO pin : GPIO_EXTI6_JoystickSW_Pin */
  GPIO_InitStruct.Pin = GPIO_EXTI6_JoystickSW_Pin;
  GPIO_InitStruct.Mode = GPIO_MODE_IT_FALLING;
  GPIO_InitStruct.Pull = GPIO_PULLUP;
  HAL_GPIO_Init(GPIO_EXTI6_JoystickSW_GPIO_Port, &GPIO_InitStruct);

  /*Configure GPIO pin : GPIO_Output_LED_Blue_Pin */
  GPIO_InitStruct.Pin = GPIO_Output_LED_Blue_Pin;
  GPIO_InitStruct.Mode = GPIO_MODE_OUTPUT_PP;
  GPIO_InitStruct.Pull = GPIO_NOPULL;
  GPIO_InitStruct.Speed = GPIO_SPEED_FREQ_LOW;
  HAL_GPIO_Init(GPIO_Output_LED_Blue_GPIO_Port, &GPIO_InitStruct);

  /* EXTI interrupt init*/
  HAL_NVIC_SetPriority(EXTI9_5_IRQn, 0, 0);
  HAL_NVIC_EnableIRQ(EXTI9_5_IRQn);

}

/* USER CODE BEGIN 4 */
/*
 * @brief  Send buffer to console (platform dependent)
 *
 * @param  tx_buffer     buffer to transmit
 * @param  len           number of byte to send
 *
 */
static void tx_com(uint8_t *tx_buffer, uint16_t len) {
	HAL_UART_Transmit(&huart3, tx_buffer, len, 1000);
}
void AVG_Capture() { //get a current speed
		for (int num = 0; num < 10; num++) {
			if (PreCCR1 != TIM5->CCR1) {
				PreCCR1 = TIM5->CCR1;
//			sprintf((char*) tx_buffer, "CCR1 : %d\r\n", TIM5->CCR1);
//			tx_com(tx_buffer, strlen((char const*) tx_buffer));
				count++;
				SUM_CCR1 += PreCCR1;
			}
			if (count == 10) {
				AVG_CCR1 = SUM_CCR1 / count;
				SUM_CCR1 = 0;
				count = 0;

				overtimeR = (float) AVG_CCR1 * 0.00125; //get a overtime
				nowspeedR = diameter / overtimeR; //get a speed
				TIM5->CCR1=0;
//			sprintf((char*) tx_buffer, "speed: %0.2f overtime:%f\r\n",
//					nowspeedR, overtimeR);
//			tx_com(tx_buffer, strlen((char const*) tx_buffer));

			}
		}
}
void get_speed() { //get a current speed
	if(PreCCR1==TIM5->CCR1){
		nowspeedR=0;
	}else{
	overtimeR = (float) TIM5->CCR1 * 0.00125; //get a overtime
	nowspeedR = diameter / overtimeR; //get a speed
//				TIM5->CCR1=0;
	PreCCR1 = TIM5->CCR1;
	}
}
/* Autonomous ranging loop*/
void RangingLoop(void) {

	VL53LX_MultiRangingData_t MultiRangingData;
	VL53LX_MultiRangingData_t *pMultiRangingData = &MultiRangingData;
	uint8_t NewDataReady = 0;
	int no_of_object_found = 0, j;

	for (uint8_t ToFSensor = 0; ToFSensor < 6; ToFSensor++) {

		switch (ToFSensor) {
		case 0:
			Dev = &devFrontLeft;
			break;
		case 1:
			Dev = &devFrontCenter;
			break;
		case 2:
			Dev = &devFrontRight;
			break;
		case 3:
			Dev = &devRearLeft;
			break;
		case 4:
			Dev = &devRearCenter;
			break;
		case 5:
			Dev = &devRearRight;
			break;
		}

		status = VL53LX_GetMeasurementDataReady(Dev, &NewDataReady);
		HAL_Delay(1); // 1 ms polling period, could be longer.
		if ((!status) && (NewDataReady != 0)) {
			status = VL53LX_GetMultiRangingData(Dev, pMultiRangingData);
			no_of_object_found = pMultiRangingData->NumberOfObjectsFound;

			for (j = 0; j < no_of_object_found; j++) {
				if (j != 0)
					sprintf((char*) tx_buffer, "\r\n                     ");
				tx_com(tx_buffer, strlen((char const*) tx_buffer));
				sprintf((char*) tx_buffer, "ToFsensor%d :  D=%5dmm \n\r",
						ToFSensor,
						pMultiRangingData->RangeData[j].RangeMilliMeter);
				tx_com(tx_buffer, strlen((char const*) tx_buffer));
			}
			sprintf((char*) tx_buffer, "\n");
			tx_com(tx_buffer, strlen((char const*) tx_buffer));
			if (status == 0) {
				status = VL53LX_ClearInterruptAndStartMeasurement(Dev);
			}
		}
	}
}

void HAL_GPIO_EXTI_Callback(uint16_t GPIO_Pin) {
	if (GPIO_Pin == GPIO_EXTI6_JoystickSW_Pin && joystickState == 1) {
		HAL_TIM_Base_Start_IT(&htim1);
		joystickState = 0;
	}
}

void HAL_TIM_PeriodElapsedCallback(TIM_HandleTypeDef *htim) {
	/* Prevent unused argument(s) compilation warning */
	UNUSED(htim);

	/* NOTE : This function should not be modified, when the callback is needed,
	 the HAL_TIM_PeriodElapsedCallback could be implemented in the user file
	 */
	if (HAL_GPIO_ReadPin(GPIO_EXTI6_JoystickSW_GPIO_Port,
	GPIO_EXTI6_JoystickSW_Pin) == GPIO_PIN_SET) {
		mode = !mode;
		HAL_GPIO_WritePin(GPIO_Output_LED_Blue_GPIO_Port,
		GPIO_Output_LED_Blue_Pin, mode);
		joystickState = 1;
		HAL_TIM_Base_Stop_IT(&htim1);
	}
}

/* USER CODE END 4 */

void Error_Handler(void)
{
	__disable_irq();
	while (1) {
	}
}
